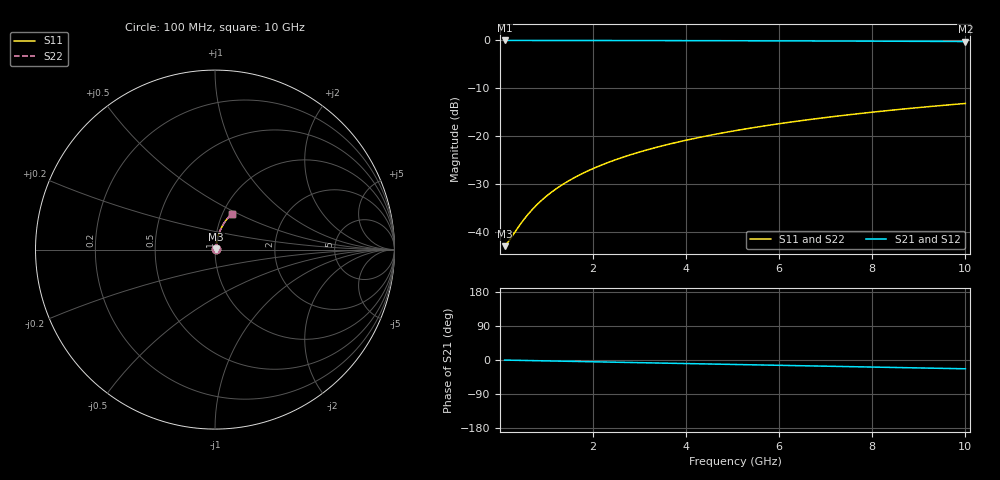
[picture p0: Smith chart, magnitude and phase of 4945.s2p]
# Hz S RI R 50.00
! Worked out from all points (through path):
!   100 points, 100 MHz to 10 GHz, reference 50 ohm
!   highest |S21| = -0.06 dB at 100 MHz (marker M1); lowest = -0.3 dB at 10 GHz (marker M2)
!   group delay of S21, straight-line fit = 6.45 ps
!   lowest |S11| = -42.8 dB at 100 MHz (marker M3), VSWR 1.01, Z = 50.7 + j0.229 ohm
!   |S11| at or under -10 dB: start of sweep to end of sweep
!   |S22| runs from -42.8 to -13.2 dB; largest |S21 - S12| = 0
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1e8  0.00684 0.00226  0.9932 -0.00407  0.9932 -0.00407  0.00684 0.00226
2e8  0.00691 0.00451  0.9931 -0.00814  0.9931 -0.00814  0.00691 0.00451
4e8  0.00708 0.00902  0.9929 -0.0163  0.9929 -0.0163  0.00708 0.00902
5e8  0.00719 0.0113  0.9928 -0.0203  0.9928 -0.0203  0.00719 0.0113
6e8  0.00731 0.0135  0.9926 -0.0244  0.9926 -0.0244  0.00731 0.0135
7e8  0.00745 0.0158  0.9925 -0.0285  0.9925 -0.0285  0.00745 0.0158
9e8  0.00777 0.0203  0.9921 -0.0366  0.9921 -0.0366  0.00777 0.0203
1.1e9  0.00817 0.0248  0.9916 -0.0447  0.9916 -0.0447  0.00817 0.0248
1.3e9  0.00864 0.0293  0.9911 -0.0528  0.9911 -0.0528  0.00864 0.0293
1.5e9  0.00918 0.0337  0.9904 -0.0609  0.9904 -0.0609  0.00918 0.0337
1.8e9  0.0101 0.0404  0.9893 -0.0731  0.9893 -0.0731  0.0101 0.0404
2.1e9  0.0112 0.0471  0.988 -0.0852  0.988 -0.0852  0.0112 0.0471
2.5e9  0.0129 0.0559  0.986 -0.1013  0.986 -0.1013  0.0129 0.0559
2.9e9  0.0149 0.0647  0.9836 -0.1173  0.9836 -0.1173  0.0149 0.0647
3.4e9  0.0178 0.0756  0.9802 -0.1372  0.9802 -0.1372  0.0178 0.0756
4.2e9  0.0234 0.0926  0.9736 -0.1688  0.9736 -0.1688  0.0234 0.0926
5.1e9  0.0309 0.1113  0.9647 -0.2039  0.9647 -0.2039  0.0309 0.1113
5.9e9  0.0387 0.1273  0.9554 -0.2345  0.9554 -0.2345  0.0387 0.1273
6.7e9  0.0475 0.1428  0.9449 -0.2646  0.9449 -0.2646  0.0475 0.1428
7.5e9  0.0572 0.1576  0.9333 -0.294  0.9333 -0.294  0.0572 0.1576
8.4e9  0.0692 0.1733  0.9188 -0.3263  0.9188 -0.3263  0.0692 0.1733
1e10  0.0931 0.199  0.89 -0.3813  0.89 -0.3813  0.0931 0.199
